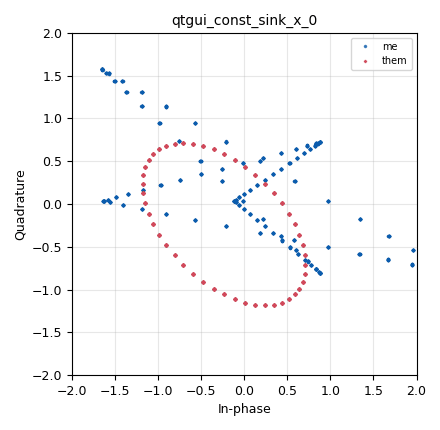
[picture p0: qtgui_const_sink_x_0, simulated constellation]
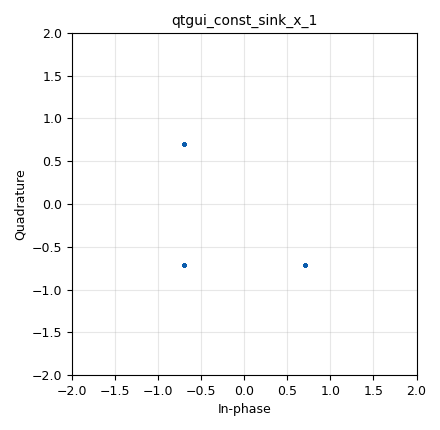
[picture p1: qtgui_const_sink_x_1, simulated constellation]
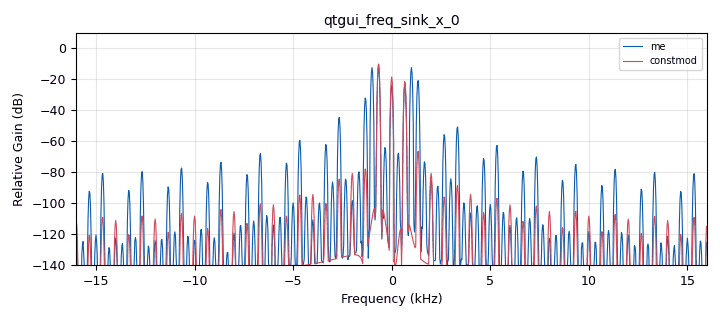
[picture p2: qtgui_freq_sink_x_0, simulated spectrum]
options:
  parameters:
    generate_options: qt_gui
    id: FLL_debug
    output_language: python
    title: Not titled yet
  states: {}

blocks:
- name: alpha
  id: variable
  parameters:
    value: '1e-10'
  states: {}
- name: qpsk_cons
  id: variable_constellation
  parameters:
    const_points: '[1+1j, -1+1j, -1-1j, 1-1j]'
    dims: '1'
    normalization: digital.constellation.AMPLITUDE_NORMALIZATION
    precision: '8'
    rot_sym: '4'
    sym_map: '[0, 1, 2, 3]'
    type: calcdist
  states: {}
- name: samp_rate
  id: variable
  parameters:
    value: 32e3
  states: {}
- name: sps
  id: variable
  parameters:
    value: '16'
  states: {}
- name: analog_agc3_xx_0
  id: analog_agc3_xx
  parameters:
    attack_rate: '1e-3'
    decay_rate: '1e-4'
    gain: '1.0'
    iir_update_decim: '1'
    max_gain: '65536'
    reference: '1.0'
    type: complex
  states: {}
- name: analog_random_source_x_0
  id: analog_random_source_x
  parameters:
    comment: 2 seconds of repeated data
    max: '2'
    min: '0'
    num_samps: int(samp_rate*2)
    repeat: 'True'
    type: byte
  states: {state: disabled}
- name: blocks_add_const_vxx_0
  id: blocks_add_const_vxx
  parameters:
    const: '128'
    type: byte
  states: {state: disabled}
- name: blocks_char_to_float_0
  id: blocks_char_to_float
  parameters:
    scale: '1'
  states: {state: disabled}
- name: blocks_multiply_const_vxx_0
  id: blocks_multiply_const_vxx
  parameters:
    const: 1/1.41421
    type: complex
  states: {}
- name: blocks_pack_k_bits_bb_0
  id: blocks_pack_k_bits_bb
  parameters:
    k: '2'
  states: {}
- name: blocks_pack_k_bits_bb_1
  id: blocks_pack_k_bits_bb
  parameters:
    k: '8'
  states: {}
- name: blocks_repack_bits_bb_0
  id: blocks_repack_bits_bb
  parameters:
    endianness: gr.GR_LSB_FIRST
    k: '1'
    l: '8'
  states: {state: disabled}
- name: blocks_repeat_0
  id: blocks_repeat
  parameters:
    interp: sps
    type: byte
  states: {}
- name: blocks_throttle2_0
  id: blocks_throttle2
  parameters:
    samples_per_second: samp_rate
    type: byte
  states: {}
- name: blocks_uchar_to_float_0
  id: blocks_uchar_to_float
  parameters: {}
  states: {}
- name: blocks_vector_source_x_0
  id: blocks_vector_source_x
  parameters:
    comment: skips the 00bit
    repeat: 'True'
    type: byte
    vector: (0, 1, 1, 1, 1, 0, 0, 1, 1, 1, 1, 0, 0, 1, 1, 1, 1, 0,0, 1, 1, 1, 1, 0)
  states: {}
- name: channels_channel_model_0
  id: channels_channel_model
  parameters:
    epsilon: '1.0'
    freq_offset: '0.0'
    noise_voltage: '0.0'
    seed: '0'
    taps: '1.0'
  states: {state: disabled}
- name: digital_chunks_to_symbols_xx_0
  id: digital_chunks_to_symbols_xx
  parameters:
    dimension: '1'
    in_type: byte
    out_type: complex
    symbol_table: '[1+1j, -1+1j, -1-1j, 1-1j]'
  states: {}
- name: digital_constellation_decoder_cb_0
  id: digital_constellation_decoder_cb
  parameters: {}
  states: {state: disabled}
- name: digital_constellation_encoder_bc_0
  id: digital_constellation_encoder_bc
  parameters:
    constellation: qpsk_cons
  states: {state: disabled}
- name: digital_constellation_modulator_0
  id: digital_constellation_modulator
  parameters:
    constellation: qpsk_cons
    differential: 'False'
    excess_bw: alpha
    samples_per_symbol: sps
  states: {}
- name: digital_fll_band_edge_cc_0
  id: digital_fll_band_edge_cc
  parameters:
    filter_size: sps*2+1
    rolloff: alpha
    samps_per_sym: sps
    type: cc
  states: {state: disabled}
- name: digital_symbol_sync_xx_0
  id: digital_symbol_sync_xx
  parameters:
    damping: '1.0'
    loop_bw: '0.045'
    max_dev: '1.5'
    osps: '1'
    resamp_type: digital.IR_MMSE_8TAP
    sps: sps
    ted_gain: '1.0'
    ted_type: digital.TED_SIGNAL_TIMES_SLOPE_ML
    type: cc
  states: {state: disabled}
- name: qtgui_const_sink_x_0
  id: qtgui_const_sink_x
  parameters:
    label1: '"me"'
    label2: '"them"'
    nconnections: '2'
    size: '1024'
    type: complex
  states: {}
- name: qtgui_const_sink_x_1
  id: qtgui_const_sink_x
  parameters:
    size: '1024'
    type: complex
  states: {}
- name: qtgui_eye_sink_x_0
  id: qtgui_eye_sink_x
  parameters:
    samp_per_symbol: sps
    size: '1024'
    srate: samp_rate
    type: complex
  states: {}
- name: qtgui_freq_sink_x_0
  id: qtgui_freq_sink_x
  parameters:
    bw: samp_rate
    fc: '0'
    fftsize: '1024'
    label1: '"me"'
    label2: '"constmod"'
    nconnections: '2'
    type: complex
  states: {}
- name: qtgui_time_sink_x_0
  id: qtgui_time_sink_x
  parameters:
    autoscale: 'True'
    comment: |-
      should be 0 to 256, is -128 to 128 instead. 
      Idk if this has an effect on anything. 
      Pack K bits doing smth... or time sink?
    name: '"should be 0 to 256"'
    size: '1024'
    srate: samp_rate
    type: float
    ymax: '300'
  states: {state: disabled}
- name: qtgui_time_sink_x_1
  id: qtgui_time_sink_x
  parameters:
    size: '1024'
    srate: samp_rate
    type: complex
  states: {state: disabled}
- name: root_raised_cosine_filter_0
  id: root_raised_cosine_filter
  parameters:
    alpha: alpha
    comment: Why is gain so ridicuously high
    gain: sps
    interp: '1'
    ntaps: int(11*samp_rate*2)
    samp_rate: samp_rate
    sym_rate: samp_rate/sps
    type: interp_fir_filter_ccf
  states: {}
- name: root_raised_cosine_filter_0_0
  id: root_raised_cosine_filter
  parameters:
    alpha: alpha
    comment: Why is gain so ridicuously high
    gain: '1'
    interp: '1'
    ntaps: int(11*samp_rate)
    samp_rate: samp_rate
    sym_rate: samp_rate/sps
    type: interp_fir_filter_ccf
  states: {state: disabled}
- name: virtual_sink_0
  id: virtual_sink
  parameters:
    stream_id: transmitted_complex_signal
  states: {state: disabled}
- name: virtual_source_0
  id: virtual_source
  parameters:
    stream_id: transmitted_complex_signal
  states: {state: disabled}

connections:
- [analog_agc3_xx_0, '0', qtgui_const_sink_x_0, '0']
- [analog_agc3_xx_0, '0', qtgui_freq_sink_x_0, '0']
- [analog_random_source_x_0, '0', blocks_pack_k_bits_bb_1, '0']
- [analog_random_source_x_0, '0', blocks_throttle2_0, '0']
- [blocks_add_const_vxx_0, '0', blocks_char_to_float_0, '0']
- [blocks_char_to_float_0, '0', qtgui_time_sink_x_0, '0']
- [blocks_multiply_const_vxx_0, '0', qtgui_const_sink_x_1, '0']
- [blocks_multiply_const_vxx_0, '0', root_raised_cosine_filter_0, '0']
- [blocks_pack_k_bits_bb_0, '0', blocks_repeat_0, '0']
- [blocks_pack_k_bits_bb_1, '0', blocks_add_const_vxx_0, '0']
- [blocks_pack_k_bits_bb_1, '0', digital_constellation_modulator_0, '0']
- [blocks_repack_bits_bb_0, '0', blocks_add_const_vxx_0, '0']
- [blocks_repeat_0, '0', digital_chunks_to_symbols_xx_0, '0']
- [blocks_repeat_0, '0', digital_constellation_encoder_bc_0, '0']
- [blocks_throttle2_0, '0', blocks_pack_k_bits_bb_0, '0']
- [blocks_throttle2_0, '0', blocks_pack_k_bits_bb_1, '0']
- [blocks_throttle2_0, '0', blocks_repack_bits_bb_0, '0']
- [blocks_vector_source_x_0, '0', blocks_throttle2_0, '0']
- [channels_channel_model_0, '0', digital_fll_band_edge_cc_0, '0']
- [channels_channel_model_0, '0', root_raised_cosine_filter_0_0, '0']
- [digital_chunks_to_symbols_xx_0, '0', blocks_multiply_const_vxx_0, '0']
- [digital_constellation_encoder_bc_0, '0', blocks_multiply_const_vxx_0, '0']
- [digital_constellation_modulator_0, '0', qtgui_const_sink_x_0, '1']
- [digital_constellation_modulator_0, '0', qtgui_freq_sink_x_0, '1']
- [digital_constellation_modulator_0, '0', virtual_sink_0, '0']
- [digital_fll_band_edge_cc_0, '0', digital_symbol_sync_xx_0, '0']
- [digital_symbol_sync_xx_0, '0', digital_constellation_decoder_cb_0, '0']
- [root_raised_cosine_filter_0, '0', analog_agc3_xx_0, '0']
- [root_raised_cosine_filter_0_0, '0', qtgui_time_sink_x_1, '0']
- [virtual_source_0, '0', channels_channel_model_0, '0']

metadata:
  file_format: 1
  grc_version: 3.10.9.2
